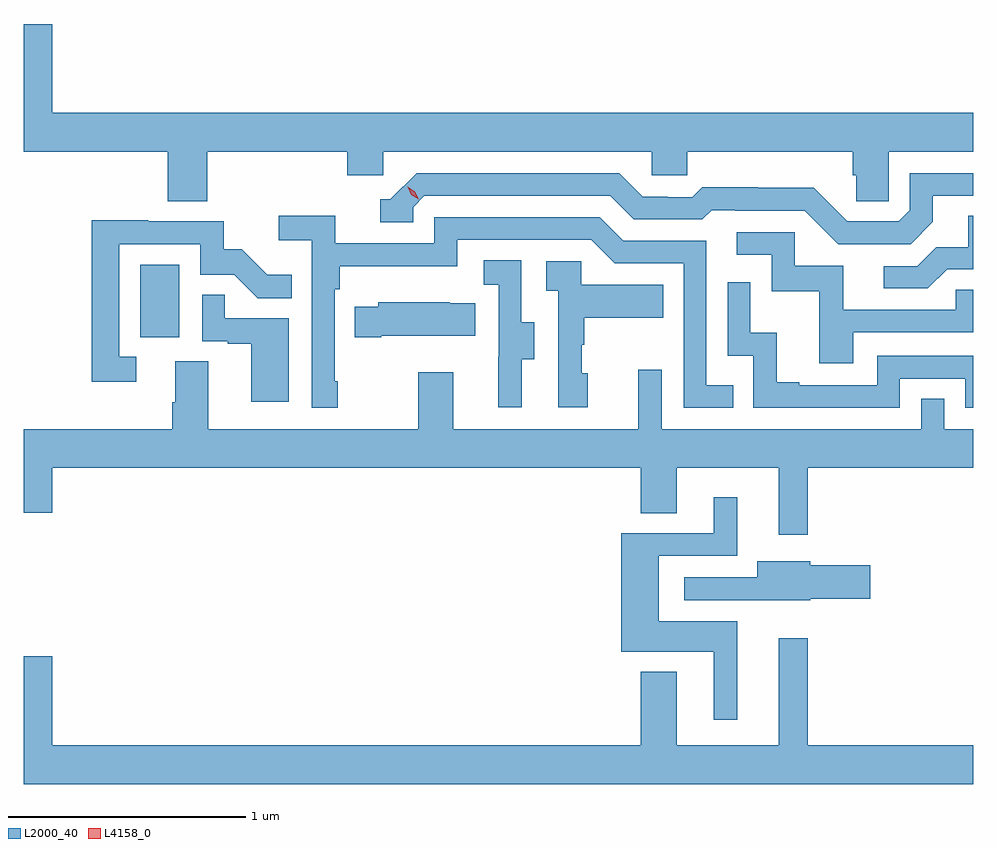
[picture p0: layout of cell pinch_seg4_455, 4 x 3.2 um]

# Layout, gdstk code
import gdstk
lib = gdstk.Library(unit=1e-6, precision=1e-09)
def R(c, l, rs):  # rectangles x0, y0, x1, y1
    for r in rs: c.add(gdstk.rectangle(r[:2], r[2:], *l))
def P(c, l, *ps):  # polygons
    for p in ps: c.add(gdstk.Polygon(p, *l))
L2000_40 = (2000, 40)
L4158_0 = (4158, 0)

pinch_seg4_455 = lib.new_cell('pinch_seg4_455')
R(pinch_seg4_455, L2000_40, [(932.774,788.046,932.938,788.353)])
P(pinch_seg4_455, L2000_40, [(932.404,789.367),(932.284,789.367),(932.284,788.828),(932.891,788.828),(932.891,788.62),(933.056,788.62),(933.056,788.828),(933.647,788.828),(933.647,788.73),(933.798,788.73),(933.798,788.828),(934.929,788.828),(934.929,788.73),(935.079,788.73),(935.079,788.828),(935.777,788.828),(935.777,788.73),(935.791,788.73),(935.791,788.62),(935.928,788.62),(935.928,788.828),(936.284,788.828),(936.284,788.992),(932.404,788.992)],
  [(936.115,788.533),(936.115,788.643),(936.284,788.643),(936.284,788.739),(936.018,788.739),(936.018,788.583),(935.97,788.535),(935.754,788.535),(935.612,788.677),(935.376,788.677),(935.376,788.68),(935.143,788.68),(935.101,788.637),(934.998,788.637),(934.998,788.64),(934.891,788.64),(934.792,788.739),(933.939,788.739),(933.828,788.628),(933.785,788.628),(933.785,788.532),(933.924,788.532),(933.924,788.595),(933.972,788.643),(934.755,788.643),(934.854,788.544),(935.143,788.544),(935.182,788.583),(935.281,788.583),(935.281,788.58),(935.574,788.58),(935.715,788.439),(936.021,788.439)],
  [(933.607,787.861),(933.594,787.861),(933.594,788.249),(933.614,788.249),(933.614,788.345),(934.11,788.345),(934.11,788.457),(934.674,788.457),(934.773,788.358),(935.064,788.358),(935.064,787.749),(935.273,787.749),(935.273,787.845),(935.16,787.845),(935.16,788.454),(934.81,788.454),(934.711,788.553),(934.014,788.553),(934.014,788.442),(933.596,788.442),(933.596,788.558),(933.357,788.558),(933.357,788.456),(933.498,788.456),(933.498,787.749),(933.607,787.749)],
  [(936.175,788.334),(936.284,788.334),(936.284,788.558),(936.263,788.558),(936.263,788.426),(936.128,788.426),(936.048,788.346),(935.907,788.346),(935.907,788.253),(936.094,788.253)],
  [(932.758,787.965),(932.685,787.965),(932.685,788.439),(933.027,788.439),(933.027,788.31),(933.171,788.31),(933.269,788.212),(933.413,788.212),(933.413,788.311),(933.309,788.311),(933.202,788.418),(933.126,788.418),(933.126,788.535),(932.807,788.535),(932.807,788.54),(932.569,788.54),(932.569,787.86),(932.758,787.86)],
  [(935.779,788.067),(936.284,788.067),(936.284,788.247),(936.211,788.247),(936.211,788.163),(935.737,788.163),(935.737,788.349),(935.532,788.349),(935.532,788.49),(935.289,788.49),(935.289,788.394),(935.436,788.394),(935.436,788.241),(935.635,788.241),(935.635,787.938),(935.779,787.938)],
  [(934.381,787.954),(934.435,787.954),(934.435,788.109),(934.38,788.109),(934.38,788.372),(934.221,788.372),(934.221,788.269),(934.284,788.269),(934.284,787.965),(934.283,787.965),(934.283,787.752),(934.381,787.752)],
  [(934.66,787.896),(934.635,787.896),(934.635,788.015),(934.645,788.015),(934.645,788.129),(934.979,788.129),(934.979,788.269),(934.632,788.269),(934.632,788.367),(934.485,788.367),(934.485,788.243),(934.536,788.243),(934.536,787.752),(934.66,787.752)],
  [(935.976,787.872),(936.252,787.872),(936.252,787.749),(936.284,787.749),(936.284,787.968),(935.88,787.968),(935.88,787.845),(935.551,787.845),(935.551,787.858),(935.456,787.858),(935.456,788.066),(935.346,788.066),(935.346,788.278),(935.25,788.278),(935.25,787.968),(935.358,787.968),(935.358,787.749),(935.976,787.749)],
  [(933.4,788.127),(933.131,788.127),(933.131,788.225),(933.036,788.225),(933.036,788.031),(933.143,788.031),(933.143,788.019),(933.242,788.019),(933.242,787.776),(933.4,787.776)],
  [(933.79,788.054),(934.187,788.054),(934.187,788.191),(934.079,788.191),(934.079,788.194),(933.777,788.194),(933.777,788.176),(933.679,788.176),(933.679,788.047),(933.79,788.047)],
  [(935.587,787.496),(936.284,787.496),(936.284,787.66),(936.162,787.66),(936.162,787.787),(936.066,787.787),(936.066,787.66),(934.971,787.66),(934.971,787.909),(934.874,787.909),(934.874,787.66),(934.093,787.66),(934.093,787.9),(933.946,787.9),(933.946,787.66),(933.061,787.66),(933.061,787.946),(932.921,787.946),(932.921,787.772),(932.909,787.772),(932.909,787.66),(932.284,787.66),(932.284,787.308),(932.404,787.308),(932.404,787.496),(934.883,787.496),(934.883,787.306),(935.035,787.306),(935.035,787.496),(935.465,787.496),(935.465,787.215),(935.587,787.215)],
  [(935.29,786.85),(934.96,786.85),(934.96,787.125),(935.29,787.125),(935.29,787.372),(935.192,787.372),(935.192,787.221),(934.802,787.221),(934.802,786.722),(935.192,786.722),(935.192,786.435),(935.29,786.435)],
  [(935.598,786.944),(935.851,786.944),(935.851,787.086),(935.598,787.086),(935.598,787.102),(935.375,787.102),(935.375,787.035),(935.067,787.035),(935.067,786.939),(935.379,786.939),(935.379,786.938),(935.598,786.938)],
  [(936.284,786.328),(935.587,786.328),(935.587,786.778),(935.465,786.778),(935.465,786.328),(935.035,786.328),(935.035,786.637),(934.883,786.637),(934.883,786.328),(932.404,786.328),(932.404,786.703),(932.284,786.703),(932.284,786.164),(936.284,786.164)])
P(pinch_seg4_455, L4158_0, [(933.947,788.628),(933.917,788.648),(933.901,788.681),(933.901,788.681),(933.902,788.681),(933.932,788.661),(933.947,788.628),(933.947,788.628)])

lib.write_gds('pinch_seg4_455.gds')
